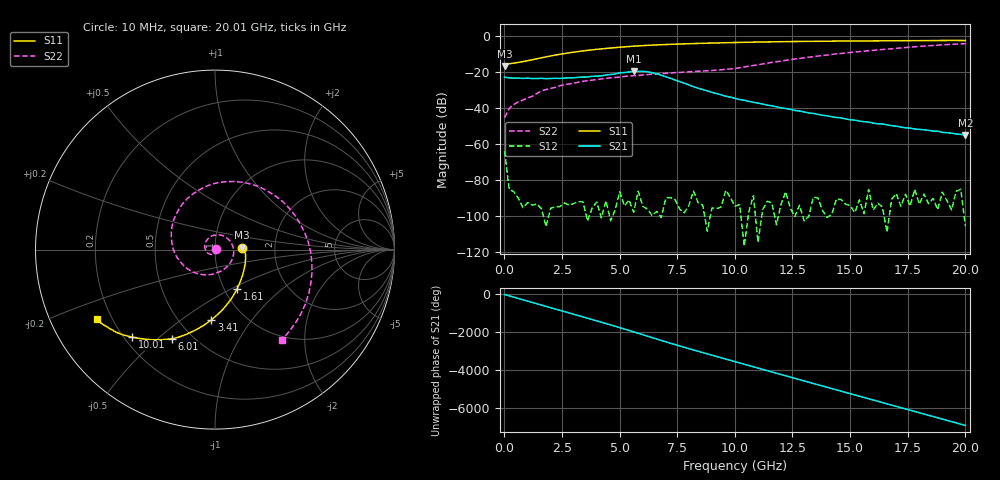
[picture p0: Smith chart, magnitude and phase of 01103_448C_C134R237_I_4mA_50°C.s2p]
!;Filter: kein Filter
!auto
!3/21/2019 9:25:24 AM
!3/21/2019 9:25:40 AM
!SP-Measurements Prober G4
!SP-Measurements Prober G4
!01103_448C
!134
!237
!12
!50
!-20
!0.00399976
!1.88
!0.54220246
!0.54220246
# Hz S  RI  R 50
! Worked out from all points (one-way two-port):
!   101 points, 10 MHz to 20.01 GHz, reference 50 ohm
!   highest |S21| = -19.43 dB at 5.61 GHz (marker M1); lowest = -55.0 dB at 20.01 GHz (marker M2)
!   lowest |S11| = -16.5 dB at 10 MHz (marker M3), VSWR 1.35, Z = 67.5 + j1.49 ohm
!   |S11| at or under -10 dB: start of sweep to 2.419 GHz
!   |S22| runs from -45.3 to -4.1 dB; largest |S21 - S12| = 0.11
!   S11 on the Smith chart (normalised r, x): 10 MHz: 1.35, +0.03; 1.61 GHz: 1.14, -0.54; 3.41 GHz: 0.71, -0.66; 6.01 GHz: 0.39, -0.56; 10.01 GHz: 0.23, -0.41; 20.01 GHz: 0.14, -0.27
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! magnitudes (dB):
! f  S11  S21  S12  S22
! 10 MHz  -16.5  -22.8  -64.0  -45.3
! 210 MHz  -15.3  -23.2  -85.4  -40.1
! 410 MHz  -14.9  -23.3  -86.6  -38.0
! 610 MHz  -14.5  -23.3  -90.3  -36.4
! 1.21 GHz  -13.1  -23.5  -94.1  -33.5
! 1.61 GHz  -12.0  -23.4  -96.0  -30.4
! 2.61 GHz  -9.6  -23.3  -92.9  -26.9
! 3.41 GHz  -8.1  -22.7  -92.3  -25.1
! 4.21 GHz  -7.0  -22.0  -101.2  -23.8
! 5.61 GHz  -5.5  -19.4  -98.0  -21.9
! 6.01 GHz  -5.2  -19.5  -94.7  -21.5
! 6.21 GHz  -5.0  -19.7  -96.2  -21.3
! 6.81 GHz  -4.7  -21.7  -100.9  -20.9
! 8.41 GHz  -4.0  -29.0  -92.8  -19.4
! 10.01 GHz  -3.5  -34.6  -94.7  -17.9
! 12.61 GHz  -2.9  -41.3  -100.4  -12.6
! 13.41 GHz  -2.8  -42.9  -89.6  -11.3
! 15.01 GHz  -2.6  -46.5  -94.4  -9.0
! 16.81 GHz  -2.5  -49.8  -90.8  -6.9
! 17.81 GHz  -2.4  -51.6  -85.3  -5.9
! 18.81 GHz  -2.4  -52.9  -96.6  -4.9
! 20.01 GHz  -2.4  -55.0  -105.8  -4.1
